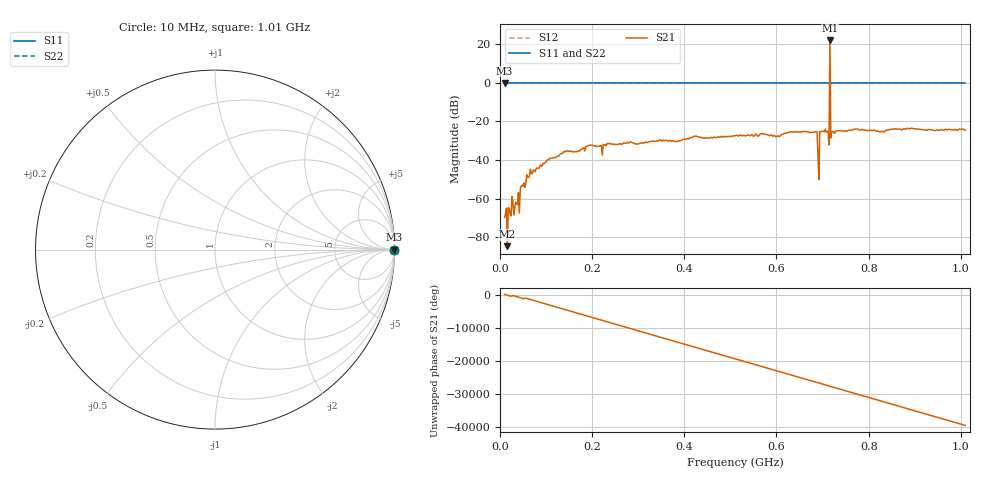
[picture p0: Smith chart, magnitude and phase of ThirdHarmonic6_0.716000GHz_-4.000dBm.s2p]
! 8/15/2025 11:55:47 PM
! C:\ANRITSUVNA\TEMP\TEMP.S2P
! CHANNEL.1
! TR.MEASUREMENT
! RAW.DATA
! RF.CORRECTION.OFF
! AVERAGING.OFF
! IF.BANDWIDTH: 5KHZ
! SWEEPTYPE:  FREQ.SWEEP(Linear)
! Reference Plane Port Info
! PORT:  PORT1  PORT2
! DISTANCE:  0  m  0  m
! TIME:  0  s  0  s
! PHASE.OFFSET:  0  deg.  0  deg.
! LOSS:  0  dB  0  dB
! REF.LOSS:  0  dB  0  dB
! REF.FREQ:  0  Hz  0  Hz
! Power Info
! POWER:  -20  dBm  -20  dBm
! EFF.POWER:  -20  dBm  -20  dBm
! SOURCE.ATTEN:  0  dB  0  dB
! TEST.ATTEN:  0  dB  0  dB
# GHZ S RI R 50.0
! FREQ.GHZ  S11RE  S11IM  S21RE  S21IM  S12RE  S12IM  S22RE  S22IM
!; PortSelection: Port_12
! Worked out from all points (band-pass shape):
!   501 points, 10 MHz to 1.01 GHz, reference 50 ohm
!   highest |S21| = 22.09 dB at 716 MHz (marker M1); lowest = -84.8 dB at 16 MHz (marker M2)
!   |S21| within 3 dB of the highest: 715.8895 MHz to 716.1184 MHz (229 kHz wide, 0.032 % of centre)
!   lowest |S11| = 0.0 dB at 10 MHz (marker M3)
!   |S11| at or under -10 dB: nowhere
!   |S22| runs from 0.0 to 0.0 dB; largest |S21 - S12| = 13
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0.01  1 0  2.43e-05 0.000325  1 0  1 0
0.012  1 0  -8.76e-05 0.000392  1 0  1 0
0.016  1 0  2.63e-05 -5.15e-05  1 0  1 0
0.034  1 0  6.3e-05 -0.000792  1 0  1 0
0.048  1 0  0.00058 0.00212  1 0  1 0
0.07  1 0  -0.00169 -0.00403  1 0  1 0
0.142  1 0  -0.015 -0.00639  1 0  1 0
0.178  1 0  -0.0185 -0.00419  1 0  1 0
0.344  1 0  0.0307 -0.00691  1 0  1 0
0.51  1 0  -0.0392 0.016  1 0  1 0
0.678  1 0  -0.0243 -0.0463  1 0  1 0
0.684  1 0  0.0537 0.000973  1 0  1 0
0.688  1 0  -0.0513 -0.0172  1 0  1 0
0.694  1 0  0.0412 -0.0357  1 0  1 0
0.698  1 0  -0.0507 0.0223  1 0  1 0
0.71  1 0  0.0473 0.0283  1 0  1 0
0.712  1 0  0.0362 -0.0431  1 0  1 0
0.716  1 0  -0.9791 12.68  1 0  1 0
0.72  1 0  0.0517 -0.00863  1 0  1 0
0.722  1 0  -0.000233 -0.0548  1 0  1 0
0.844  1 0  0.0443 0.0417  1 0  1 0
1.01  1 0  -0.0574 -0.0143  1 0  1 0
